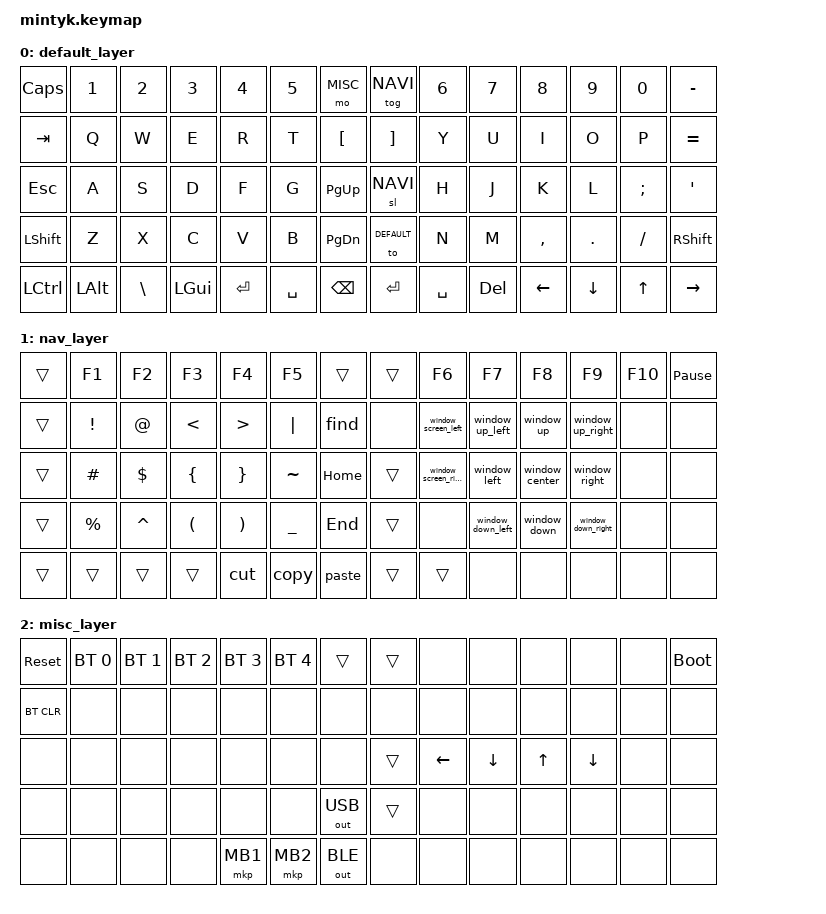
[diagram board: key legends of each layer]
#include <behaviors.dtsi>
#include <dt-bindings/zmk/keys.h>
#include <dt-bindings/zmk/bt.h>
#include <dt-bindings/zmk/mouse.h>
#include <dt-bindings/zmk/outputs.h>

#define DEFAULT 0
#define NAVI 1
#define MISC 2

&sl {
    release-after-ms = <2000>;
  };

/ {
    keymap {
        compatible = "zmk,keymap";

        default_layer {
          bindings = <
    &kp CLCK    &kp N1        &kp N2        &kp N3        &kp N4        &kp N5        &mo MISC            &tog NAVI    &kp N6    &kp N7    &kp N8    &kp N9    &kp N0   &kp MINUS
    &kp TAB     &kp Q         &kp W         &kp E         &kp R         &kp T         &kp LBKT            &kp RBKT     &kp Y     &kp U     &kp I     &kp O     &kp P    &kp EQUAL
    &kp ESC     &kp A         &kp S         &kp D         &kp F         &kp G         &kp PG_UP           &sl NAVI     &kp H     &kp J     &kp K     &kp L     &kp SEMI &kp SQT
    &kp LSHIFT  &kp Z         &kp X         &kp C         &kp V         &kp B         &kp PG_DN           &to DEFAULT &kp N     &kp M     &kp COMMA &kp DOT   &kp FSLH &kp RSHIFT
    &kp LCTRL   &kp LALT      &kp BSLH      &kp LGUI      &kp RET       &kp SPACE     &kp BSPC            &kp RET      &kp SPACE &kp DEL   &kp LEFT  &kp DOWN  &kp UP   &kp RIGHT
            >;
          };

    nav_layer {
        bindings = <
    &trans      &kp F1        &kp F2        &kp F3        &kp F4        &kp F5        &trans              &trans       &kp F6                &kp F7            &kp F8          &kp F9              &kp F10   &kp PAUSE_BREAK
    &trans      &kp EXCL      &kp AT        &kp LT        &kp GT        &kp PIPE      &find               &none        &window_screen_left   &window_up_left   &window_up      &window_up_right    &none     &none
    &trans      &kp HASH      &kp DLLR      &kp LBRC      &kp RBRC      &kp TILDE     &kp HOME            &trans       &window_screen_right  &window_left      &window_center  &window_right       &none     &none
    &trans      &kp PRCNT     &kp CARET     &kp LPAR      &kp RPAR      &kp UNDER     &kp END             &trans       &none                 &window_down_left &window_down    &window_down_right  &none     &none
    &trans      &trans        &trans        &trans        &cut          &copy         &paste              &trans       &trans                &none             &none           &none               &none     &none
          >;
        };

    misc_layer {
        bindings = <
    &sys_reset  &bt BT_SEL 0  &bt BT_SEL 1  &bt BT_SEL 2  &bt BT_SEL 3  &bt BT_SEL 4  &trans              &trans       &none    &none     &none   &none     &none   &bootloader
    &bt BT_CLR  &none         &none         &none         &none         &none         &none               &none        &none    &none     &none   &none     &none   &none
    &none       &none         &none         &none         &none         &none         &none               &trans       &kp LEFT &kp DOWN  &kp UP  &kp DOWN  &none   &none
    &none       &none         &none         &none         &none         &none         &out OUT_USB        &trans       &none    &none     &none   &none     &none   &none
    &none       &none         &none         &none         &mkp MB1      &mkp MB2      &out OUT_BLE        &none        &none    &none     &none   &none     &none   &none
          >;
        };
    };

    macros {
        find: find {
          compatible = "zmk,behavior-macro";
          #binding-cells = <0>;
          bindings
            = <&macro_press &kp LGUI>
            , <&macro_tap &kp F>
            , <&macro_release &kp LGUI>
            ;
          };
        copy: copy {
          compatible = "zmk,behavior-macro";
          #binding-cells = <0>;
          bindings
            = <&macro_press &kp LGUI>
            , <&macro_tap &kp C>
            , <&macro_release &kp LGUI>
            ;
          };
        paste: paste {
          compatible = "zmk,behavior-macro";
          #binding-cells = <0>;
          bindings
            = <&macro_press &kp LGUI>
            , <&macro_tap &kp V>
            , <&macro_release &kp LGUI>
            ;
          };
        cut: cut {
          compatible = "zmk,behavior-macro";
          #binding-cells = <0>;
          bindings
            = <&macro_press &kp LGUI>
            , <&macro_tap &kp X>
            , <&macro_release &kp LGUI>
            ;
          };
        window_left: window_left {
          compatible = "zmk,behavior-macro";
          #binding-cells = <0>;
          bindings
            = <&macro_press &kp LCTRL &kp LALT>
            , <&macro_tap &kp LEFT>
            , <&macro_release &kp LCTRL &kp LALT>
            ;
          };
        window_right: window_right {
          compatible = "zmk,behavior-macro";
          #binding-cells = <0>;
          bindings
            = <&macro_press &kp LCTRL &kp LALT>
            , <&macro_tap &kp RIGHT>
            , <&macro_release &kp LCTRL &kp LALT>
            ;
          };
        window_up: window_up {
          compatible = "zmk,behavior-macro";
          #binding-cells = <0>;
          bindings
            = <&macro_press &kp LCTRL &kp LALT>
            , <&macro_tap &kp UP>
            , <&macro_release &kp LCTRL &kp LALT>
            ;
          };
        window_down: window_down {
          compatible = "zmk,behavior-macro";
          #binding-cells = <0>;
          bindings
            = <&macro_press &kp LCTRL &kp LALT>
            , <&macro_tap &kp DOWN>
            , <&macro_release &kp LCTRL &kp LALT>
            ;
          };
        window_center: window_center {
          compatible = "zmk,behavior-macro";
          #binding-cells = <0>;
          bindings
            = <&macro_press &kp LCTRL &kp LALT>
            , <&macro_tap &kp RET>
            , <&macro_release &kp LCTRL &kp LALT>
            ;
          };
        window_up_left: window_up_left {
          compatible = "zmk,behavior-macro";
          #binding-cells = <0>;
          bindings
            = <&macro_press &kp LCTRL &kp LALT>
            , <&macro_tap &kp U>
            , <&macro_release &kp LCTRL &kp LALT>
            ;
          };
        window_up_right: window_up_right {
          compatible = "zmk,behavior-macro";
          #binding-cells = <0>;
          bindings
            = <&macro_press &kp LCTRL &kp LALT>
            , <&macro_tap &kp I>
            , <&macro_release &kp LCTRL &kp LALT>
            ;
          };
        window_down_left: window_down_left {
          compatible = "zmk,behavior-macro";
          #binding-cells = <0>;
          bindings
            = <&macro_press &kp LCTRL &kp LALT>
            , <&macro_tap &kp J>
            , <&macro_release &kp LCTRL &kp LALT>
            ;
          };
        window_down_right: window_down_right {
          compatible = "zmk,behavior-macro";
          #binding-cells = <0>;
          bindings
            = <&macro_press &kp LCTRL &kp LALT>
            , <&macro_tap &kp K>
            , <&macro_release &kp LCTRL &kp LALT>
            ;
          };
        window_screen_right: window_screen_right {
          compatible = "zmk,behavior-macro";
          #binding-cells = <0>;
          bindings
            = <&macro_press &kp LCTRL &kp LALT &kp LGUI>
            , <&macro_tap &kp RIGHT>
            , <&macro_release &kp LCTRL &kp LALT &kp LGUI>
            ;
          };
        window_screen_left: window_screen_left {
          compatible = "zmk,behavior-macro";
          #binding-cells = <0>;
          bindings
            = <&macro_press &kp LCTRL &kp LALT &kp LGUI>
            , <&macro_tap &kp LEFT>
            , <&macro_release &kp LCTRL &kp LALT &kp LGUI>
            ;
          };
      };
  };
